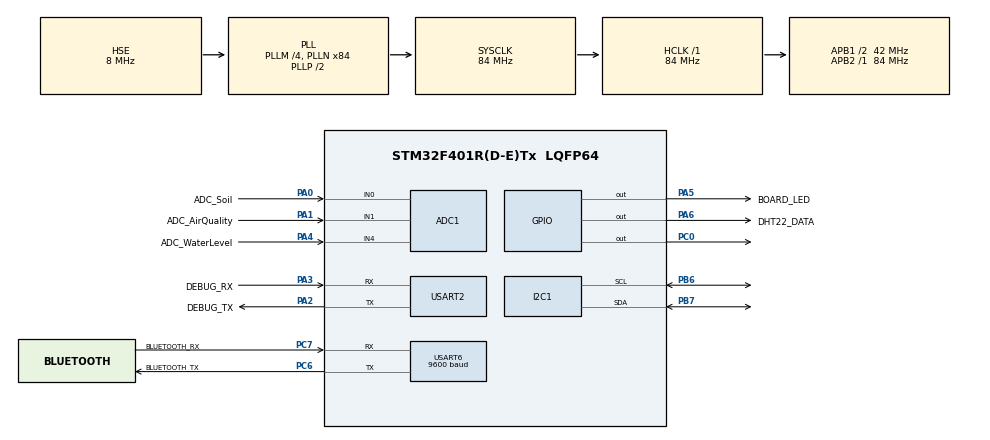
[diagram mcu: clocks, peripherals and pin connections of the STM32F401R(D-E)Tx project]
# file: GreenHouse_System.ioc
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ADC1.Channel-0\#ChannelRegularConversion=ADC_CHANNEL_0
ADC1.Channel-2\#ChannelRegularConversion=ADC_CHANNEL_1
ADC1.Channel-3\#ChannelRegularConversion=ADC_CHANNEL_4
ADC1.ContinuousConvMode=DISABLE
ADC1.DiscontinuousConvMode=DISABLE
ADC1.EOCSelection=ADC_EOC_SINGLE_CONV
ADC1.NbrOfConversion=3
ADC1.NbrOfConversionFlag=1
ADC1.Rank-0\#ChannelRegularConversion=1
ADC1.Rank-2\#ChannelRegularConversion=2
ADC1.Rank-3\#ChannelRegularConversion=3
ADC1.SamplingTime-0\#ChannelRegularConversion=ADC_SAMPLETIME_144CYCLES
ADC1.SamplingTime-2\#ChannelRegularConversion=ADC_SAMPLETIME_144CYCLES
ADC1.SamplingTime-3\#ChannelRegularConversion=ADC_SAMPLETIME_144CYCLES
ADC1.ScanConvMode=ENABLE
ADC1.master=1
Dma.Request0=USART2_TX
Dma.USART2_TX.0.Direction=DMA_MEMORY_TO_PERIPH
Dma.USART2_TX.0.FIFOMode=DMA_FIFOMODE_DISABLE
Dma.USART2_TX.0.Instance=DMA1_Stream6
Dma.USART2_TX.0.MemDataAlignment=DMA_MDATAALIGN_BYTE
Dma.USART2_TX.0.MemInc=DMA_MINC_ENABLE
Dma.USART2_TX.0.Mode=DMA_NORMAL
Dma.USART2_TX.0.PeriphDataAlignment=DMA_PDATAALIGN_BYTE
Dma.USART2_TX.0.PeriphInc=DMA_PINC_DISABLE
Dma.USART2_TX.0.Priority=DMA_PRIORITY_MEDIUM
FREERTOS.Tasks01=defaultTask,24,128,StartDefaultTask,Default,NULL,Dynamic,NULL,NULL
FREERTOS.configENABLE_FPU=1
FREERTOS.configMAX_TASK_NAME_LEN=56
FREERTOS.configUSE_IDLE_HOOK=1
I2C1.I2C_Mode=I2C_Fast
Mcu.Family=STM32F4
Mcu.Name=STM32F401R(D-E)Tx
Mcu.Package=LQFP64
NVIC.ADC_IRQn=true\:5\:0\:false\:false\:true\:true\:true\:true\:true
NVIC.DMA1_Stream6_IRQn=true\:5\:0\:false\:false\:true\:true\:false\:true\:true
NVIC.PriorityGroup=NVIC_PRIORITYGROUP_4
NVIC.TIM1_UP_TIM10_IRQn=true\:15\:0\:false\:false\:true\:false\:false\:true\:true
NVIC.TimeBase=TIM1_UP_TIM10_IRQn
NVIC.TimeBaseIP=TIM10
NVIC.USART2_IRQn=true\:5\:0\:false\:false\:true\:true\:true\:true\:true
NVIC.USART6_IRQn=true\:5\:0\:false\:false\:true\:true\:true\:true\:true
PA0-WKUP.GPIO_Label=ADC_Soil
PA0-WKUP.Signal=ADCx_IN0
PA1.GPIO_Label=ADC_AirQuality
PA1.Signal=ADCx_IN1
PA2.GPIO_Label=DEBUG_TX
PA2.Mode=Asynchronous
PA2.Signal=USART2_TX
PA3.GPIO_Label=DEBUG_RX
PA3.Mode=Asynchronous
PA3.Signal=USART2_RX
PA4.GPIO_Label=ADC_WaterLevel
PA4.Signal=ADCx_IN4
PA5.GPIO_Label=BOARD_LED
PA5.Signal=GPIO_Output
PA6.GPIO_Label=DHT22_DATA
PA6.GPIO_ModeDefaultOutputPP=GPIO_MODE_OUTPUT_PP
PA6.GPIO_PuPd=GPIO_NOPULL
PA6.GPIO_Speed=GPIO_SPEED_FREQ_LOW
PA6.Signal=GPIO_Output
PB6.Mode=I2C
PB6.Signal=I2C1_SCL
PB7.Mode=I2C
PB7.Signal=I2C1_SDA
PC0.PinState=GPIO_PIN_SET
PC0.Signal=GPIO_Output
PC6.GPIO_Label=BLUETOOTH_TX
PC6.Mode=Asynchronous
PC6.Signal=USART6_TX
PC7.GPIO_Label=BLUETOOTH_RX
PC7.Mode=Asynchronous
PC7.Signal=USART6_RX
PH0\ -\ OSC_IN.Mode=HSE-External-Oscillator
PH0\ -\ OSC_IN.Signal=RCC_OSC_IN
PH1\ -\ OSC_OUT.Mode=HSE-External-Oscillator
PH1\ -\ OSC_OUT.Signal=RCC_OSC_OUT
ProjectManager.HeapSize=0x200
ProjectManager.StackSize=0x400
ProjectManager.TargetToolchain=STM32CubeIDE
RCC.48MHZClocksFreq_Value=24000000
RCC.AHBFreq_Value=84000000
RCC.APB1CLKDivider=RCC_HCLK_DIV2
RCC.APB1Freq_Value=42000000
RCC.APB1TimFreq_Value=84000000
RCC.APB2Freq_Value=84000000
RCC.APB2TimFreq_Value=84000000
RCC.CortexFreq_Value=84000000
RCC.HCLKFreq_Value=84000000
RCC.HSE_VALUE=8000000
RCC.HSI_VALUE=16000000
RCC.LSE_VALUE=32768
RCC.PLLM=4
RCC.PLLN=84
RCC.PLLQ=7
RCC.PLLSourceVirtual=RCC_PLLSOURCE_HSE
RCC.SYSCLKFreq_VALUE=84000000
RCC.SYSCLKSource=RCC_SYSCLKSOURCE_PLLCLK
RCC.VCOOutputFreq_Value=168000000
SH.ADCx_IN0.0=ADC1_IN0,IN0
SH.ADCx_IN1.0=ADC1_IN1,IN1
SH.ADCx_IN4.0=ADC1_IN4,IN4
USART2.VirtualMode=VM_ASYNC
USART6.BaudRate=9600
USART6.VirtualMode=VM_ASYNC
VP_FREERTOS_VS_CMSIS_V2.Mode=CMSIS_V2
VP_RTC_VS_RTC_Activate.Mode=RTC_Enabled
VP_SYS_VS_tim10.Mode=TIM10
board=NUCLEO-F401RE

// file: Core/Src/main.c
/* USER CODE BEGIN Header */
/**
  ******************************************************************************
  * @file           : main.c
  * @brief          : Main program body
  ******************************************************************************
  * @attention
  *
  * Copyright (c) 2024 STMicroelectronics.
  * All rights reserved.
  *
  * This software is licensed under terms that can be found in the LICENSE file
  * in the root directory of this software component.
  * If no LICENSE file comes with this software, it is provided AS-IS.
  *
  ******************************************************************************
  */
/* USER CODE END Header */
#include "main.h"
#include "cmsis_os.h"

/* USER CODE BEGIN Includes */

#include "cli.h"
#include "string.h"
#include "sensor_app.h"
#include "actuator_app.h"
/* USER CODE END Includes */

/* USER CODE BEGIN PD */
#define RX_BUFFER_SIZE 100
#define TX_BUFFER_SIZE 100
/* USER CODE END PD */

ADC_HandleTypeDef hadc1;

I2C_HandleTypeDef hi2c1;

RTC_HandleTypeDef hrtc;

UART_HandleTypeDef huart2;
UART_HandleTypeDef huart6;
DMA_HandleTypeDef hdma_usart2_tx;

/* Definitions for defaultTask */
osThreadId_t defaultTaskHandle;
const osThreadAttr_t defaultTask_attributes = {
  .name = "defaultTask",
  .stack_size = 128 * 4,
  .priority = (osPriority_t) osPriorityNormal,
};
/* USER CODE BEGIN PV */

/*Debug Buffers*/
char debug_rx_buffer[RX_BUFFER_SIZE] = {0};
volatile uint8_t debug_rx_index = 0;
uint8_t debug_tx_buffer[TX_BUFFER_SIZE] = {0};
/*Bluetooth Buffers*/
char bl_rx_buffer[RX_BUFFER_SIZE] = {0};
volatile uint8_t bl_rx_index = 0;
uint8_t bl_tx_buffer[TX_BUFFER_SIZE] = {0};
/*TASK VARIABLES*/
/* USER CODE END PV */

void SystemClock_Config(void);
static void MX_GPIO_Init(void);
static void MX_DMA_Init(void);
static void MX_USART2_UART_Init(void);
static void MX_ADC1_Init(void);
static void MX_I2C1_Init(void);
static void MX_USART6_UART_Init(void);
static void MX_RTC_Init(void);
void StartDefaultTask(void *argument);

int main(void)
{

  /* MCU Configuration--------------------------------------------------------*/

  /* Reset of all peripherals, Initializes the Flash interface and the Systick. */
  HAL_Init();

  /* Configure the system clock */
  SystemClock_Config();

  /* Initialize all configured peripherals */
  MX_GPIO_Init();
  MX_DMA_Init();
  MX_USART2_UART_Init();
  MX_ADC1_Init();
  MX_I2C1_Init();
  MX_USART6_UART_Init();
  MX_RTC_Init();
  /* USER CODE BEGIN 2 */
  HAL_UART_Receive_IT(&huart2,(uint8_t *)&debug_rx_buffer[debug_rx_index] ,1);
  HAL_UART_Receive_IT(&huart6,(uint8_t *)&bl_rx_buffer[bl_rx_index] ,1);
  CLI_Init();
  SENSOR_APP_Init();
  ACTUATOR_APP_Init();

  /* USER CODE END 2 */

  /* Init scheduler */
  osKernelInitialize();

  /* Create the thread(s) */
  /* creation of defaultTask */
  defaultTaskHandle = osThreadNew(StartDefaultTask, NULL, &defaultTask_attributes);

  /* Start scheduler */
  osKernelStart();

  /* We should never get here as control is now taken by the scheduler */
  /* Infinite loop */
  while (1)
  {

  }
}

void SystemClock_Config(void)
{
  RCC_OscInitTypeDef RCC_OscInitStruct = {0};
  RCC_ClkInitTypeDef RCC_ClkInitStruct = {0};

  /** Configure the main internal regulator output voltage
  */
  __HAL_RCC_PWR_CLK_ENABLE();
  __HAL_PWR_VOLTAGESCALING_CONFIG(PWR_REGULATOR_VOLTAGE_SCALE2);

  /** Initializes the RCC Oscillators according to the specified parameters
  * in the RCC_OscInitTypeDef structure.
  */
  RCC_OscInitStruct.OscillatorType = RCC_OSCILLATORTYPE_LSI|RCC_OSCILLATORTYPE_HSE;
  RCC_OscInitStruct.HSEState = RCC_HSE_ON;
  RCC_OscInitStruct.LSIState = RCC_LSI_ON;
  RCC_OscInitStruct.PLL.PLLState = RCC_PLL_ON;
  RCC_OscInitStruct.PLL.PLLSource = RCC_PLLSOURCE_HSE;
  RCC_OscInitStruct.PLL.PLLM = 4;
  RCC_OscInitStruct.PLL.PLLN = 84;
  RCC_OscInitStruct.PLL.PLLP = RCC_PLLP_DIV2;
  RCC_OscInitStruct.PLL.PLLQ = 7;
  if (HAL_RCC_OscConfig(&RCC_OscInitStruct) != HAL_OK)
  {
    Error_Handler();
  }

  /** Initializes the CPU, AHB and APB buses clocks
  */
  RCC_ClkInitStruct.ClockType = RCC_CLOCKTYPE_HCLK|RCC_CLOCKTYPE_SYSCLK
                              |RCC_CLOCKTYPE_PCLK1|RCC_CLOCKTYPE_PCLK2;
  RCC_ClkInitStruct.SYSCLKSource = RCC_SYSCLKSOURCE_PLLCLK;
  RCC_ClkInitStruct.AHBCLKDivider = RCC_SYSCLK_DIV1;
  RCC_ClkInitStruct.APB1CLKDivider = RCC_HCLK_DIV2;
  RCC_ClkInitStruct.APB2CLKDivider = RCC_HCLK_DIV1;

  if (HAL_RCC_ClockConfig(&RCC_ClkInitStruct, FLASH_LATENCY_2) != HAL_OK)
  {
    Error_Handler();
  }
}

static void MX_ADC1_Init(void)
{

  ADC_ChannelConfTypeDef sConfig = {0};

  /** Configure the global features of the ADC (Clock, Resolution, Data Alignment and number of conversion)
  */
  hadc1.Instance = ADC1;
  hadc1.Init.ClockPrescaler = ADC_CLOCK_SYNC_PCLK_DIV4;
  hadc1.Init.Resolution = ADC_RESOLUTION_12B;
  hadc1.Init.ScanConvMode = ENABLE;
  hadc1.Init.ContinuousConvMode = DISABLE;
  hadc1.Init.DiscontinuousConvMode = DISABLE;
  hadc1.Init.ExternalTrigConvEdge = ADC_EXTERNALTRIGCONVEDGE_NONE;
  hadc1.Init.ExternalTrigConv = ADC_SOFTWARE_START;
  hadc1.Init.DataAlign = ADC_DATAALIGN_RIGHT;
  hadc1.Init.NbrOfConversion = 3;
  hadc1.Init.DMAContinuousRequests = DISABLE;
  hadc1.Init.EOCSelection = ADC_EOC_SINGLE_CONV;
  if (HAL_ADC_Init(&hadc1) != HAL_OK)
  {
    Error_Handler();
  }

  /** Configure for the selected ADC regular channel its corresponding rank in the sequencer and its sample time.
  */
  sConfig.Channel = ADC_CHANNEL_0;
  sConfig.Rank = 1;
  sConfig.SamplingTime = ADC_SAMPLETIME_144CYCLES;
  if (HAL_ADC_ConfigChannel(&hadc1, &sConfig) != HAL_OK)
  {
    Error_Handler();
  }

  /** Configure for the selected ADC regular channel its corresponding rank in the sequencer and its sample time.
  */
  sConfig.Channel = ADC_CHANNEL_1;
  sConfig.Rank = 2;
  if (HAL_ADC_ConfigChannel(&hadc1, &sConfig) != HAL_OK)
  {
    Error_Handler();
  }

  /** Configure for the selected ADC regular channel its corresponding rank in the sequencer and its sample time.
  */
  sConfig.Channel = ADC_CHANNEL_4;
  sConfig.Rank = 3;
  if (HAL_ADC_ConfigChannel(&hadc1, &sConfig) != HAL_OK)
  {
    Error_Handler();
  }

}

static void MX_I2C1_Init(void)
{

  hi2c1.Instance = I2C1;
  hi2c1.Init.ClockSpeed = 400000;
  hi2c1.Init.DutyCycle = I2C_DUTYCYCLE_2;
  hi2c1.Init.OwnAddress1 = 0;
  hi2c1.Init.AddressingMode = I2C_ADDRESSINGMODE_7BIT;
  hi2c1.Init.DualAddressMode = I2C_DUALADDRESS_DISABLE;
  hi2c1.Init.OwnAddress2 = 0;
  hi2c1.Init.GeneralCallMode = I2C_GENERALCALL_DISABLE;
  hi2c1.Init.NoStretchMode = I2C_NOSTRETCH_DISABLE;
  if (HAL_I2C_Init(&hi2c1) != HAL_OK)
  {
    Error_Handler();
  }

}

static void MX_RTC_Init(void)
{

  /** Initialize RTC Only
  */
  hrtc.Instance = RTC;
  hrtc.Init.HourFormat = RTC_HOURFORMAT_24;
  hrtc.Init.AsynchPrediv = 127;
  hrtc.Init.SynchPrediv = 255;
  hrtc.Init.OutPut = RTC_OUTPUT_DISABLE;
  hrtc.Init.OutPutPolarity = RTC_OUTPUT_POLARITY_HIGH;
  hrtc.Init.OutPutType = RTC_OUTPUT_TYPE_OPENDRAIN;
  if (HAL_RTC_Init(&hrtc) != HAL_OK)
  {
    Error_Handler();
  }

}

static void MX_USART2_UART_Init(void)
{

  huart2.Instance = USART2;
  huart2.Init.BaudRate = 115200;
  huart2.Init.WordLength = UART_WORDLENGTH_8B;
  huart2.Init.StopBits = UART_STOPBITS_1;
  huart2.Init.Parity = UART_PARITY_NONE;
  huart2.Init.Mode = UART_MODE_TX_RX;
  huart2.Init.HwFlowCtl = UART_HWCONTROL_NONE;
  huart2.Init.OverSampling = UART_OVERSAMPLING_16;
  if (HAL_UART_Init(&huart2) != HAL_OK)
  {
    Error_Handler();
  }

}

static void MX_USART6_UART_Init(void)
{

  huart6.Instance = USART6;
  huart6.Init.BaudRate = 9600;
  huart6.Init.WordLength = UART_WORDLENGTH_8B;
  huart6.Init.StopBits = UART_STOPBITS_1;
  huart6.Init.Parity = UART_PARITY_NONE;
  huart6.Init.Mode = UART_MODE_TX_RX;
  huart6.Init.HwFlowCtl = UART_HWCONTROL_NONE;
  huart6.Init.OverSampling = UART_OVERSAMPLING_16;
  if (HAL_UART_Init(&huart6) != HAL_OK)
  {
    Error_Handler();
  }

}

static void MX_DMA_Init(void)
{

  /* DMA controller clock enable */
  __HAL_RCC_DMA1_CLK_ENABLE();

  /* DMA interrupt init */
  /* DMA1_Stream6_IRQn interrupt configuration */
  HAL_NVIC_SetPriority(DMA1_Stream6_IRQn, 5, 0);
  HAL_NVIC_EnableIRQ(DMA1_Stream6_IRQn);

}

static void MX_GPIO_Init(void)
{
  GPIO_InitTypeDef GPIO_InitStruct = {0};

  /* GPIO Ports Clock Enable */
  __HAL_RCC_GPIOH_CLK_ENABLE();
  __HAL_RCC_GPIOC_CLK_ENABLE();
  __HAL_RCC_GPIOA_CLK_ENABLE();
  __HAL_RCC_GPIOB_CLK_ENABLE();

  /*Configure GPIO pin Output Level */
  HAL_GPIO_WritePin(GPIOC, GPIO_PIN_0, GPIO_PIN_SET);

  /*Configure GPIO pin Output Level */
  HAL_GPIO_WritePin(GPIOA, BOARD_LED_Pin|DHT22_DATA_Pin, GPIO_PIN_RESET);

  /*Configure GPIO pin : PC0 */
  GPIO_InitStruct.Pin = GPIO_PIN_0;
  GPIO_InitStruct.Mode = GPIO_MODE_OUTPUT_PP;
  GPIO_InitStruct.Pull = GPIO_NOPULL;
  GPIO_InitStruct.Speed = GPIO_SPEED_FREQ_LOW;
  HAL_GPIO_Init(GPIOC, &GPIO_InitStruct);

  /*Configure GPIO pins : BOARD_LED_Pin DHT22_DATA_Pin */
  GPIO_InitStruct.Pin = BOARD_LED_Pin|DHT22_DATA_Pin;
  GPIO_InitStruct.Mode = GPIO_MODE_OUTPUT_PP;
  GPIO_InitStruct.Pull = GPIO_NOPULL;
  GPIO_InitStruct.Speed = GPIO_SPEED_FREQ_LOW;
  HAL_GPIO_Init(GPIOA, &GPIO_InitStruct);

}

/* USER CODE BEGIN 4 */

void HAL_UART_RxCpltCallback(UART_HandleTypeDef *huart)
{
	if (huart->Instance == USART2) {
		uint8_t received_char = debug_rx_buffer[debug_rx_index];
		if ((received_char == '\n') || (debug_rx_index >= (sizeof(debug_rx_buffer) - 1))) {
			debug_rx_buffer[debug_rx_index] = '\0'; // Null-terminate the string
			CLI_PostCommand(debug_rx_buffer); // Post the command to the CLI queue
			debug_rx_index = 0;
			memset(debug_rx_buffer, 0, sizeof(debug_rx_buffer)); // Clear the buffer
		} else {
			debug_rx_buffer[debug_rx_index++] = received_char;
		}
		HAL_UART_Receive_IT(&huart2,(uint8_t *)&debug_rx_buffer[debug_rx_index], 1); // Set up next reception
	}

	if (huart->Instance == USART6) {
		uint8_t received_char_bl = bl_rx_buffer[bl_rx_index];
		if ((received_char_bl == '\n') || (bl_rx_index >= (sizeof(bl_rx_buffer) - 1))) {
			bl_rx_buffer[bl_rx_index] = '\0'; // Null-terminate the string
			CLI_PostCommand(bl_rx_buffer); // Post the command to the CLI queue
			bl_rx_index = 0;
			memset(bl_rx_buffer, 0, sizeof(bl_rx_buffer)); // Clear the buffer
		} else {
			bl_rx_buffer[bl_rx_index++] = received_char_bl;
		}
		HAL_UART_Receive_IT(&huart6,(uint8_t *)&bl_rx_buffer[bl_rx_index], 1); // Set up next reception
	}
}
/* USER CODE END 4 */

void StartDefaultTask(void *argument)
{
  for(;;)
  {
    osDelay(1);
  }
}

void HAL_TIM_PeriodElapsedCallback(TIM_HandleTypeDef *htim)
{
  if (htim->Instance == TIM10) {
    HAL_IncTick();
  }
}

void Error_Handler(void)
{
  __disable_irq();
  while (1)
  {
  }
}

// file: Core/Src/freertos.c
/* USER CODE BEGIN Header */
/**
  ******************************************************************************
  * File Name          : freertos.c
  * Description        : Code for freertos applications
  ******************************************************************************
  * @attention
  *
  * Copyright (c) 2024 STMicroelectronics.
  * All rights reserved.
  *
  * This software is licensed under terms that can be found in the LICENSE file
  * in the root directory of this software component.
  * If no LICENSE file comes with this software, it is provided AS-IS.
  *
  ******************************************************************************
  */
/* USER CODE END Header */

#include "FreeRTOS.h"
#include "task.h"
#include "main.h"

/* Hook prototypes */
void vApplicationIdleHook(void);

/* USER CODE BEGIN 2 */
void vApplicationIdleHook( void )
{
   /* vApplicationIdleHook() will only be called if configUSE_IDLE_HOOK is set
   to 1 in FreeRTOSConfig.h. It will be called on each iteration of the idle
   task. It is essential that code added to this hook function never attempts
   to block in any way (for example, call xQueueReceive() with a block time
   specified, or call vTaskDelay()). If the application makes use of the
   vTaskDelete() API function (as this demo application does) then it is also
   important that vApplicationIdleHook() is permitted to return to its calling
   function, because it is the responsibility of the idle task to clean up
   memory allocated by the kernel to any task that has since been deleted. */
   __WFI();
}
/* USER CODE END 2 */
